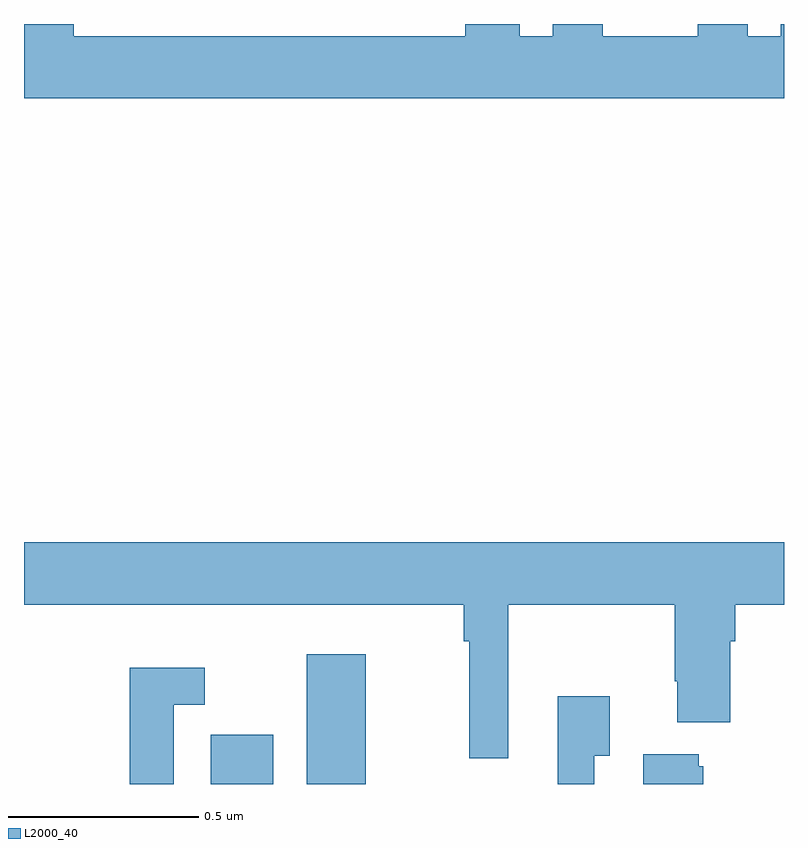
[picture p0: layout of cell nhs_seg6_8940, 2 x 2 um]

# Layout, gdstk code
import gdstk
lib = gdstk.Library(unit=1e-6, precision=1e-09)
def R(c, l, rs):  # rectangles x0, y0, x1, y1
    for r in rs: c.add(gdstk.rectangle(r[:2], r[2:], *l))
def P(c, l, *ps):  # polygons
    for p in ps: c.add(gdstk.Polygon(p, *l))
L2000_40 = (2000, 40)

nhs_seg6_8940 = lib.new_cell('nhs_seg6_8940')
R(nhs_seg6_8940, L2000_40, [(227.492,977.5,227.656,977.629), (227.744,977.5,227.899,977.842)])
P(nhs_seg6_8940, L2000_40, [(229,979.5),(228.992,979.5),(228.992,979.468),(228.904,979.468),(228.904,979.5),(228.773,979.5),(228.773,979.468),(228.523,979.468),(228.523,979.5),(228.392,979.5),(228.392,979.468),(228.304,979.468),(228.304,979.5),(228.161,979.5),(228.161,979.468),(227.131,979.468),(227.131,979.5),(227,979.5),(227,979.304),(229,979.304)],
  [(228.274,977.972),(228.712,977.972),(228.712,977.77),(228.719,977.77),(228.719,977.663),(228.859,977.663),(228.859,977.876),(228.872,977.876),(228.872,977.972),(229,977.972),(229,978.136),(227,978.136),(227,977.972),(228.157,977.972),(228.157,977.876),(228.172,977.876),(228.172,977.568),(228.274,977.568)],
  [(227.394,977.709),(227.476,977.709),(227.476,977.806),(227.278,977.806),(227.278,977.5),(227.394,977.5)],
  [(228.501,977.575),(228.541,977.575),(228.541,977.731),(228.404,977.731),(228.404,977.5),(228.501,977.5)],
  [(228.787,977.547),(228.776,977.547),(228.776,977.578),(228.629,977.578),(228.629,977.5),(228.787,977.5)])

lib.write_gds('nhs_seg6_8940.gds')
